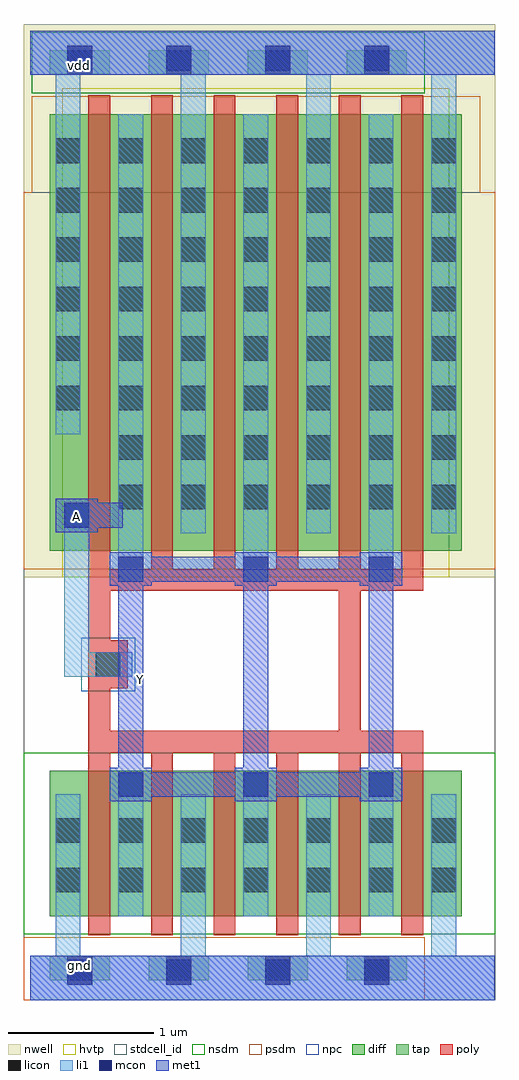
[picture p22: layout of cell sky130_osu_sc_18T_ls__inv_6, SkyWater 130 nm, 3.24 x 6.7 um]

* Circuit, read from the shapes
.subckt sky130_osu_sc_18T_ls__inv_6 A Y gnd vdd
XM1 Y A gnd gnd sky130_fd_pr__nfet_01v8 w=1 l=0.15 m=6
XM2 Y A vdd vdd sky130_fd_pr__pfet_01v8_hvt w=3 l=0.15 m=6
.ends

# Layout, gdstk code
import gdstk
lib = gdstk.Library(unit=1e-6, precision=1e-09)
def R(c, l, rs):  # rectangles x0, y0, x1, y1
    for r in rs: c.add(gdstk.rectangle(r[:2], r[2:], *l))
def A(c, l, x, y, w, h, nx, ny, dx, dy):  # array of equal rectangles
    R(c, l, [(x+i*dx, y+j*dy, x+i*dx+w, y+j*dy+h) for i in range(nx) for j in range(ny)])
nwell = (64, 20)
diff = (65, 20)
tap = (65, 44)
poly = (66, 20)
licon = (66, 44)
li1 = (67, 20)
mcon = (67, 44)
met1 = (68, 20)
hvtp = (78, 44)
stdcell_id = (81, 4)
nsdm = (93, 44)
psdm = (94, 20)
npc = (95, 20)

sky130_osu_sc_18t_ls__in = lib.new_cell('sky130_osu_sc_18T_ls__inv_6')
R(sky130_osu_sc_18t_ls__in, nwell, [(-0.045,2.905,3.195,6.705)])
R(sky130_osu_sc_18t_ls__in, diff, [(0.135,0.575,2.965,1.575), (0.135,3.085,2.965,6.085)])
A(sky130_osu_sc_18t_ls__in, tap, 0.135, 0.135, 0.41, 0.17, 4, 2, 0.68, 6.22)
A(sky130_osu_sc_18t_ls__in, poly, 0.4, 0.445, 0.15, 1.255, 6, 1, 0.43, 0)
A(sky130_osu_sc_18t_ls__in, poly, 0.4, 2.96, 0.15, 3.255, 6, 1, 0.43, 0)
R(sky130_osu_sc_18t_ls__in, poly, [(0.4,1.7,2.7,1.85), (0.4,1.85,0.55,2.14), (2.12,1.85,2.27,2.81), (0.4,2.14,0.67,2.47), (0.4,2.47,0.55,2.81), (0.4,2.81,2.7,2.96)])
A(sky130_osu_sc_18t_ls__in, licon, 0.255, 0.135, 0.17, 0.17, 4, 2, 0.68, 6.22)
A(sky130_osu_sc_18t_ls__in, licon, 0.175, 0.74, 0.17, 0.17, 7, 2, 0.43, 0.34)
A(sky130_osu_sc_18t_ls__in, licon, 0.605, 3.37, 0.17, 0.17, 6, 2, 0.43, 0.34)
A(sky130_osu_sc_18t_ls__in, licon, 0.175, 4.05, 0.17, 0.17, 7, 6, 0.43, 0.34)
R(sky130_osu_sc_18t_ls__in, licon, [(0.45,2.22,0.62,2.39)])
A(sky130_osu_sc_18t_ls__in, li1, 0.175, 0.305, 0.17, 1.11, 4, 1, 0.86, 0)
A(sky130_osu_sc_18t_ls__in, li1, 0.605, 0.575, 0.17, 0.99, 3, 1, 0.86, 0)
A(sky130_osu_sc_18t_ls__in, li1, 0.605, 2.875, 0.17, 3.21, 3, 1, 0.86, 0)
A(sky130_osu_sc_18t_ls__in, li1, 1.035, 3.205, 0.17, 3.15, 3, 1, 0.86, 0)
R(sky130_osu_sc_18t_ls__in, li1, [(0,0,3.19,0.305), (0.235,2.22,0.7,2.39), (0.235,2.39,0.405,3.415), (0.175,3.885,0.345,6.355), (0,6.355,3.19,6.66)])
A(sky130_osu_sc_18t_ls__in, mcon, 0.255, 0.105, 0.17, 0.17, 4, 2, 0.68, 6.28)
A(sky130_osu_sc_18t_ls__in, mcon, 0.605, 1.395, 0.17, 0.17, 3, 2, 0.86, 1.48)
R(sky130_osu_sc_18t_ls__in, mcon, [(0.235,3.245,0.405,3.415)])
A(sky130_osu_sc_18t_ls__in, met1, 0.545, 1.365, 0.29, 0.03, 3, 2, 0.86, 0.2)
A(sky130_osu_sc_18t_ls__in, met1, 0.605, 1.595, 0.17, 1.25, 3, 1, 0.86, 0)
A(sky130_osu_sc_18t_ls__in, met1, 0.545, 2.845, 0.29, 0.03, 3, 2, 0.86, 0.2)
R(sky130_osu_sc_18t_ls__in, met1, [(0,0,3.19,0.305), (0.545,1.395,2.555,1.565), (0.545,2.875,2.555,3.045), (0.175,3.215,0.465,3.245), (0.175,3.245,0.635,3.415), (0.175,3.415,0.465,3.445), (0,6.355,3.19,6.66)])
R(sky130_osu_sc_18t_ls__in, hvtp, [(0.22,2.905,2.88,6.265)])
R(sky130_osu_sc_18t_ls__in, stdcell_id, [(-0.045,0,3.195,5.55)])
R(sky130_osu_sc_18t_ls__in, nsdm, [(-0.045,0.45,3.195,1.7), (0.01,6.23,2.71,6.65)])
R(sky130_osu_sc_18t_ls__in, psdm, [(-0.045,0,2.71,0.43), (-0.045,2.96,3.195,5.55), (0.01,5.55,3.09,6.21)])
R(sky130_osu_sc_18t_ls__in, npc, [(0.35,2.12,0.72,2.49)])
sky130_osu_sc_18t_ls__in.add(gdstk.Label('gnd', (0.34,0.24), layer=68, texttype=16))
sky130_osu_sc_18t_ls__in.add(gdstk.Label('vdd', (0.34,6.42), layer=68, texttype=16))
sky130_osu_sc_18t_ls__in.add(gdstk.Label('A', (0.32,3.325), layer=68, texttype=5))
sky130_osu_sc_18t_ls__in.add(gdstk.Label('Y', (0.76,2.2), layer=68, texttype=5))

lib.write_gds('sky130_osu_sc_18T_ls__inv_6.gds')
